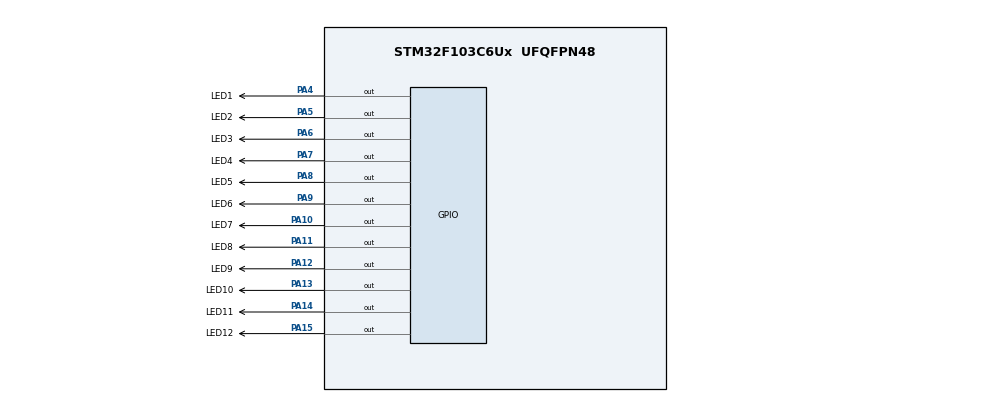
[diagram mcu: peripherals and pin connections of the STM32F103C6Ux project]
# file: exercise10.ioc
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Mcu.Family=STM32F1
Mcu.Name=STM32F103C6Ux
Mcu.Package=UFQFPN48
NVIC.PriorityGroup=NVIC_PRIORITYGROUP_4
PA10.GPIO_Label=LED7
PA10.Signal=GPIO_Output
PA11.GPIO_Label=LED8
PA11.Signal=GPIO_Output
PA12.GPIO_Label=LED9
PA12.Signal=GPIO_Output
PA13.GPIO_Label=LED10
PA13.Signal=GPIO_Output
PA14.GPIO_Label=LED11
PA14.Signal=GPIO_Output
PA15.GPIO_Label=LED12
PA15.Signal=GPIO_Output
PA4.GPIO_Label=LED1
PA4.Signal=GPIO_Output
PA5.GPIO_Label=LED2
PA5.Signal=GPIO_Output
PA6.GPIO_Label=LED3
PA6.Signal=GPIO_Output
PA7.GPIO_Label=LED4
PA7.Signal=GPIO_Output
PA8.GPIO_Label=LED5
PA8.Signal=GPIO_Output
PA9.GPIO_Label=LED6
PA9.Signal=GPIO_Output
ProjectManager.HeapSize=0x200
ProjectManager.StackSize=0x400
ProjectManager.TargetToolchain=STM32CubeIDE
RCC.APB1Freq_Value=8000000
RCC.APB2Freq_Value=8000000
VP_SYS_VS_ND.Mode=No_Debug
board=custom

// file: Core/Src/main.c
/* USER CODE BEGIN Header */
/**
  ******************************************************************************
  * @file           : main.c
  * @brief          : Main program body
  ******************************************************************************
  * @attention
  *
  * <h2><center>&copy; Copyright (c) 2025 STMicroelectronics.
  * All rights reserved.</center></h2>
  *
  * This software component is licensed by ST under BSD 3-Clause license,
  * the "License"; You may not use this file except in compliance with the
  * License. You may obtain a copy of the License at:
  *                        opensource.org/licenses/BSD-3-Clause
  *
  ******************************************************************************
  */
/* USER CODE END Header */
#include "main.h"

void SystemClock_Config(void);
static void MX_GPIO_Init(void);

/* USER CODE BEGIN 0 */
uint16_t LED[12] = {
	LED1_Pin, LED2_Pin, LED3_Pin, LED4_Pin,
	LED5_Pin, LED6_Pin, LED7_Pin, LED8_Pin,
	LED9_Pin, LED10_Pin, LED11_Pin, LED12_Pin
};

void clearAllClock()
{
	HAL_GPIO_WritePin(GPIOA, LED1_Pin|LED2_Pin|LED3_Pin|LED4_Pin
	                        |LED5_Pin|LED6_Pin|LED7_Pin|LED8_Pin
	                        |LED9_Pin|LED10_Pin|LED11_Pin|LED12_Pin, GPIO_PIN_RESET);
}

void setNumberOnClock(int num)
{
	if (num < 0 || num > 11) return;
	HAL_GPIO_WritePin(GPIOA, LED[num], GPIO_PIN_SET);
}

void clearNumberOnClock(int num)
{
	if (num < 0 || num > 11) return;
	HAL_GPIO_WritePin(GPIOA, LED[num], GPIO_PIN_RESET);
}
/* USER CODE END 0 */

int main(void)
{

  /* MCU Configuration--------------------------------------------------------*/

  /* Reset of all peripherals, Initializes the Flash interface and the Systick. */
  HAL_Init();

  /* Configure the system clock */
  SystemClock_Config();

  /* Initialize all configured peripherals */
  MX_GPIO_Init();

  /* Infinite loop */
  /* USER CODE BEGIN WHILE */
  while (1)
  {
	  clearAllClock();
	  static int hour = 0,
			  	 minute = 0,
				 second = 0;
	  setNumberOnClock(hour % 12);
	  setNumberOnClock((minute / 5) % 12);
	  setNumberOnClock((second / 5) % 12);

	  second++;
	  if (second == 60){
		  second = 0;
		  minute++;
	  }
	  if (minute == 60){
		  minute = 0;
		  hour++;
	  }
	  if (hour == 24){
		  hour = 0;
	  }
	  HAL_Delay(1000);
    /* USER CODE END WHILE */

  }
}

void SystemClock_Config(void)
{
  RCC_OscInitTypeDef RCC_OscInitStruct = {0};
  RCC_ClkInitTypeDef RCC_ClkInitStruct = {0};

  /** Initializes the RCC Oscillators according to the specified parameters
  * in the RCC_OscInitTypeDef structure.
  */
  RCC_OscInitStruct.OscillatorType = RCC_OSCILLATORTYPE_HSI;
  RCC_OscInitStruct.HSIState = RCC_HSI_ON;
  RCC_OscInitStruct.HSICalibrationValue = RCC_HSICALIBRATION_DEFAULT;
  RCC_OscInitStruct.PLL.PLLState = RCC_PLL_NONE;
  if (HAL_RCC_OscConfig(&RCC_OscInitStruct) != HAL_OK)
  {
    Error_Handler();
  }
  /** Initializes the CPU, AHB and APB buses clocks
  */
  RCC_ClkInitStruct.ClockType = RCC_CLOCKTYPE_HCLK|RCC_CLOCKTYPE_SYSCLK
                              |RCC_CLOCKTYPE_PCLK1|RCC_CLOCKTYPE_PCLK2;
  RCC_ClkInitStruct.SYSCLKSource = RCC_SYSCLKSOURCE_HSI;
  RCC_ClkInitStruct.AHBCLKDivider = RCC_SYSCLK_DIV1;
  RCC_ClkInitStruct.APB1CLKDivider = RCC_HCLK_DIV1;
  RCC_ClkInitStruct.APB2CLKDivider = RCC_HCLK_DIV1;

  if (HAL_RCC_ClockConfig(&RCC_ClkInitStruct, FLASH_LATENCY_0) != HAL_OK)
  {
    Error_Handler();
  }
}

static void MX_GPIO_Init(void)
{
  GPIO_InitTypeDef GPIO_InitStruct = {0};

  /* GPIO Ports Clock Enable */
  __HAL_RCC_GPIOA_CLK_ENABLE();

  /*Configure GPIO pin Output Level */
  HAL_GPIO_WritePin(GPIOA, LED1_Pin|LED2_Pin|LED3_Pin|LED4_Pin
                          |LED5_Pin|LED6_Pin|LED7_Pin|LED8_Pin
                          |LED9_Pin|LED10_Pin|LED11_Pin|LED12_Pin, GPIO_PIN_RESET);

  /*Configure GPIO pins : LED1_Pin LED2_Pin LED3_Pin LED4_Pin
                           LED5_Pin LED6_Pin LED7_Pin LED8_Pin
                           LED9_Pin LED10_Pin LED11_Pin LED12_Pin */
  GPIO_InitStruct.Pin = LED1_Pin|LED2_Pin|LED3_Pin|LED4_Pin
                          |LED5_Pin|LED6_Pin|LED7_Pin|LED8_Pin
                          |LED9_Pin|LED10_Pin|LED11_Pin|LED12_Pin;
  GPIO_InitStruct.Mode = GPIO_MODE_OUTPUT_PP;
  GPIO_InitStruct.Pull = GPIO_NOPULL;
  GPIO_InitStruct.Speed = GPIO_SPEED_FREQ_LOW;
  HAL_GPIO_Init(GPIOA, &GPIO_InitStruct);

}

void Error_Handler(void)
{
  __disable_irq();
  while (1)
  {
  }
}

/************************ (C) COPYRIGHT STMicroelectronics *****END OF FILE****/
